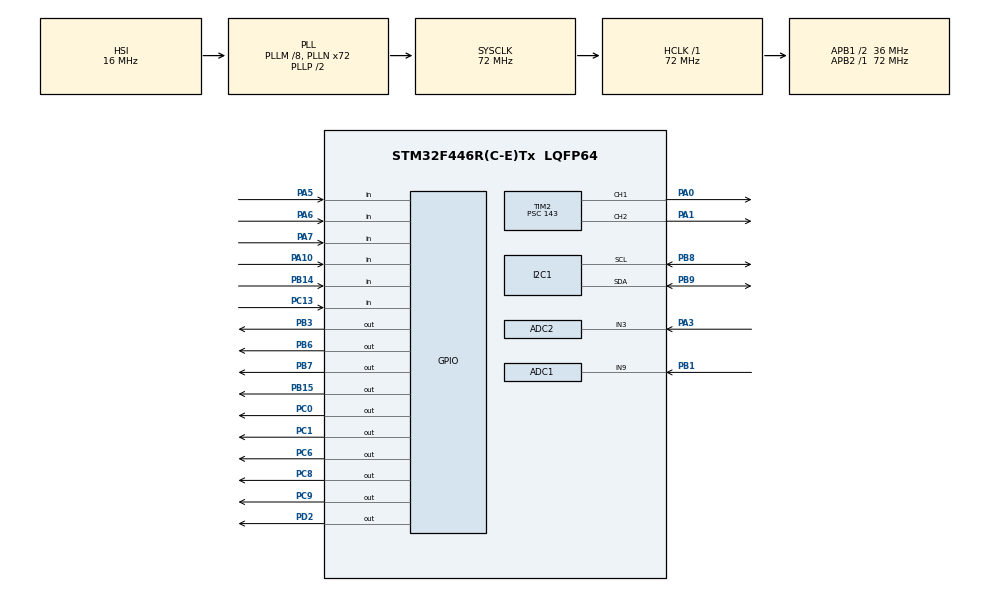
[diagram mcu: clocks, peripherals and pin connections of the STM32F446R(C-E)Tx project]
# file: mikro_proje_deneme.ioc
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ADC1.Channel-0\#ChannelRegularConversion=ADC_CHANNEL_9
ADC1.ContinuousConvMode=ENABLE
ADC1.NbrOfConversionFlag=1
ADC1.Rank-0\#ChannelRegularConversion=1
ADC1.SamplingTime-0\#ChannelRegularConversion=ADC_SAMPLETIME_3CYCLES
ADC1.master=1
ADC2.Channel-1\#ChannelRegularConversion=ADC_CHANNEL_3
ADC2.NbrOfConversionFlag=1
ADC2.Rank-1\#ChannelRegularConversion=1
ADC2.SamplingTime-1\#ChannelRegularConversion=ADC_SAMPLETIME_3CYCLES
Mcu.Family=STM32F4
Mcu.Name=STM32F446R(C-E)Tx
Mcu.Package=LQFP64
NVIC.ADC_IRQn=true\:0\:0\:false\:false\:true\:true\:true\:true
NVIC.PriorityGroup=NVIC_PRIORITYGROUP_4
PA0-WKUP.Signal=S_TIM2_CH1_ETR
PA1.Signal=S_TIM2_CH2
PA10.Signal=GPIO_Input
PA13.Mode=Serial_Wire
PA13.Signal=SYS_JTMS-SWDIO
PA14.Mode=Serial_Wire
PA14.Signal=SYS_JTCK-SWCLK
PA3.Signal=ADCx_IN3
PA5.GPIO_PuPd=GPIO_PULLDOWN
PA5.Signal=GPIO_Input
PA6.Signal=GPIO_Input
PA7.Signal=GPIO_Input
PB1.Signal=ADCx_IN9
PB14.Signal=GPIO_Input
PB15.Signal=GPIO_Output
PB3.Signal=GPIO_Output
PB6.Signal=GPIO_Output
PB7.Signal=GPIO_Output
PB8.Mode=I2C
PB8.Signal=I2C1_SCL
PB9.Mode=I2C
PB9.Signal=I2C1_SDA
PC0.Signal=GPIO_Output
PC1.Signal=GPIO_Output
PC13.Signal=GPIO_Input
PC6.Signal=GPIO_Output
PC8.Signal=GPIO_Output
PC9.Signal=GPIO_Output
PD2.Signal=GPIO_Output
PH0-OSC_IN.Mode=HSE-External-Oscillator
PH0-OSC_IN.Signal=RCC_OSC_IN
PH1-OSC_OUT.Mode=HSE-External-Oscillator
PH1-OSC_OUT.Signal=RCC_OSC_OUT
ProjectManager.HeapSize=0x200
ProjectManager.StackSize=0x400
ProjectManager.TargetToolchain=STM32CubeIDE
RCC.AHBFreq_Value=72000000
RCC.APB1CLKDivider=RCC_HCLK_DIV2
RCC.APB1Freq_Value=36000000
RCC.APB1TimFreq_Value=72000000
RCC.APB2Freq_Value=72000000
RCC.APB2TimFreq_Value=72000000
RCC.CortexFreq_Value=72000000
RCC.HCLKFreq_Value=72000000
RCC.PLLM=8
RCC.PLLN=72
RCC.SYSCLKFreq_VALUE=72000000
RCC.SYSCLKSource=RCC_SYSCLKSOURCE_PLLCLK
RCC.USBFreq_Value=72000000
RCC.VCOOutputFreq_Value=144000000
SH.ADCx_IN3.0=ADC2_IN3,IN3
SH.ADCx_IN9.0=ADC1_IN9,IN9
SH.S_TIM2_CH1_ETR.0=TIM2_CH1,PWM Generation1 CH1
SH.S_TIM2_CH2.0=TIM2_CH2,PWM Generation2 CH2
TIM1.Prescaler=71
TIM2.Channel-PWM\ Generation1\ CH1=TIM_CHANNEL_1
TIM2.Channel-PWM\ Generation2\ CH2=TIM_CHANNEL_2
TIM2.Period=9999
TIM2.Prescaler=143
VP_TIM1_VS_ClockSourceINT.Mode=Internal
board=custom

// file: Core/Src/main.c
/* USER CODE BEGIN Header */
/**
  ******************************************************************************
  * @file           : main.c
  * @brief          : Main program body
  ******************************************************************************
  * @attention
  *
  * Copyright (c) 2024 STMicroelectronics.
  * All rights reserved.
  *
  * This software is licensed under terms that can be found in the LICENSE file
  * in the root directory of this software component.
  * If no LICENSE file comes with this software, it is provided AS-IS.
  *
  ******************************************************************************
  */
/* USER CODE END Header */
#include "main.h"

/* USER CODE BEGIN Includes */

#include "liquidcrystal_i2c.h"
#include <stdio.h>
#include <string.h>

/* USER CODE END Includes */

/* USER CODE BEGIN PD */
#define DHT11_PORT GPIOB
#define DHT11_PIN GPIO_PIN_7

uint8_t RHI, RHD, TCI, TCD, SUM;
uint32_t pMillis, cMillis;
float tCelsius = 0;
float tFahrenheit = 0;
float RH = 0;
uint8_t TFI = 0;
uint8_t TFD = 0;
char strCopy[15];
uint16_t sayac;
uint16_t mesafe=0;

#define SERVO_ANGLE_0 500  // KAPI için 0 derece için uygun PWM pulse genisligi
#define SERVO_ANGLE_90 1000 // Kapi için 90 derece için uygun PWM pulse genisligi
#define SERVO_ANGLE_180 1299 // Kapi için 180 derece için uygun PWM pulse genisligi

uint16_t waterValue; //su sensörünü okumasi için
uint16_t lightValue;//isik sensörü okumasi için deger atadim
uint16_t gasValue; // gaz sensörü degeri

uint8_t waterFlag=0; //su sensörü flagi
uint8_t gasFlag=0; //gaz flagi
uint8_t ldrFlag=0; // isik flagi
uint8_t mesafeFlag=0; //pir flagi
uint8_t kilitliMi=0; //kapi için kilit.
/* USER CODE END PD */

ADC_HandleTypeDef hadc1;
ADC_HandleTypeDef hadc2;

I2C_HandleTypeDef hi2c1;

TIM_HandleTypeDef htim1;
TIM_HandleTypeDef htim2;

/* USER CODE BEGIN PV */
void HAL_ADC_ConvCpltCallback(ADC_HandleTypeDef* hadc2){ //Su sensörü için.
waterValue= HAL_ADC_GetValue(hadc2);
	if(waterValue>150){
		waterFlag=1;
	}else{
		waterFlag=0;
	}
}
/* USER CODE END PV */

void SystemClock_Config(void);
static void MX_GPIO_Init(void);
static void MX_TIM2_Init(void);
static void MX_ADC1_Init(void);
static void MX_ADC2_Init(void);
static void MX_I2C1_Init(void);
static void MX_TIM1_Init(void);

/* USER CODE BEGIN 0 */
void kilitFonksiyonu(){
		if(HAL_GPIO_ReadPin(GPIOA,GPIO_PIN_5)){ //kitle tusu
			kilitliMi=1;
			mesafeFlag=0;
		}
		else{ //5 sifir iken açilacak
			kilitliMi=0;
		}
}

void perdeAc(){
	TIM2->CCR2=SERVO_ANGLE_0;
} //manuel açma kapamalar için.

void perdeKapa(){
	 TIM2->CCR2=SERVO_ANGLE_180;
}
void Gas_System(){ //Pir sensörü gelince kapinin kendine ait kontrolu olacak.
    GPIO_PinState digital_value = HAL_GPIO_ReadPin(GPIOA, GPIO_PIN_10); // Dijital degeri oku
    // Dijital degeri kontrol et
    if (digital_value == 0) // Eger dijital pin HIGH durumdaysa
    {
				gasFlag=1;
				TIM2->CCR1=SERVO_ANGLE_90;
				  HD44780_Clear();
				  HD44780_SetCursor(0,0);
				  HD44780_PrintStr("GAZ KACAGI VAR");
				  HAL_Delay(1000);
				  TIM2->CCR2=SERVO_ANGLE_90;
           // Servo motoru 90 dereceye döndür
        // LED'i yak
        for (int i = 0; i < 40; i++)
        {

        	HAL_GPIO_WritePin(GPIOC, GPIO_PIN_1, 0);
            HAL_GPIO_TogglePin(GPIOC, GPIO_PIN_8|GPIO_PIN_9|GPIO_PIN_6); // ACIL DURUM LED 1'i yak , Buzzer'i aç. , ACIL DURUM LED 2'i yak
            HAL_Delay(500);
        }
    }
    else
    {

    	HAL_GPIO_WritePin(GPIOC, GPIO_PIN_1, 1);
				gasFlag=0;
        TIM2->CCR1=SERVO_ANGLE_0; // Servo motoru 0 dereceye döndür
        HAL_GPIO_WritePin(GPIOC, GPIO_PIN_8, GPIO_PIN_RESET);  // ACIL DURUM LED1'i söndür
		HAL_GPIO_WritePin(GPIOC, GPIO_PIN_9, GPIO_PIN_RESET); // ACIL DURUM LED2'i söndür
        HAL_GPIO_WritePin(GPIOC, GPIO_PIN_6, GPIO_PIN_RESET);// Buzzer'i kapat
    }
}

void isikKontrol(){
		HAL_ADC_Start(&hadc1);
		HAL_ADC_PollForConversion(&hadc1,100); //LDR okudugu veri bozulmasin diye eoc flag kontrolü yapiyoruz.
    lightValue = HAL_ADC_GetValue(&hadc1);

		if(lightValue<1500){ //ara deger bulanacak!
			ldrFlag=0;
		}
		else{
			ldrFlag=1;
		}
}

void perdeKontrol(){
	if(gasFlag==1){ //gaz varsa her türlü açicak.

		perdeAc();
	}
	else if (ldrFlag==1){ //gaz yoksa dis mekandan daha fazla isik varsa kapanacak
		  HD44780_Clear();
		  HD44780_SetCursor(0,0);
		  HD44780_PrintStr("HAVA GUNESLI");
		 HAL_Delay(100);
		perdeKapa();

	}
	else {
		  HD44780_Clear();
		  HD44780_SetCursor(0,0);
		  HD44780_PrintStr("HAVA KAPALI");
		  HAL_Delay(100);
		perdeAc(); //ne gaz varsa ne dis mekan daha isikli ise perde açilacak.

	}
}
/*void pir_kontrol()
	{
		if (HAL_GPIO_ReadPin(GPIOA, GPIO_PIN_7)){
			pirFlag=1;
		}

	}*/

void kapiKontrol(){
	 if(kilitliMi==0){
			TIM2->CCR1=SERVO_ANGLE_0; // kilit varsa kapı açilmaz.
			HAL_GPIO_WritePin(GPIOB,GPIO_PIN_3,0); //DIS ISIK AC.

	  }
	else if(kilitliMi==1 && mesafeFlag==1){
		HAL_GPIO_WritePin(GPIOB,GPIO_PIN_3,1);//DIS ISIK ac.
		TIM2->CCR1=SERVO_ANGLE_90;// Servo motoru 90 dereceye döndür, kapiyi aç
			HAL_Delay(2000);
		TIM2->CCR1=SERVO_ANGLE_0; //kapiyi kapayacak.
		  HD44780_Clear();
		  HD44780_SetCursor(0,0);
	    HD44780_PrintStr("HOSGELDIN SUHA");
		HAL_Delay(3000);

		// 5 sn bekle
		//TIM2->CCR1=SERVO_ANGLE_0; //kapiyi kapat.
		//pirFlag=0;
	}

	 /*  for(int x=0; x<20; x=x+1)
	   {
	     HD44780_ScrollDisplayLeft();  //HD44780_ScrollDisplayRight();
	     HAL_Delay(300);
	   }*/
}

void icIsiklandirma(){ // A6 IÇ ISIK TUSU, B6 IÇ ISIK ÇIKISI ROLESI
	if(HAL_GPIO_ReadPin(GPIOA,GPIO_PIN_6)){
		HAL_GPIO_WritePin(GPIOB,GPIO_PIN_6,1);//ROLE ÇALISIYOR
		HAL_Delay(10);
	}
	else {
		HAL_Delay(10);
		HAL_GPIO_WritePin(GPIOB,GPIO_PIN_6,0);
	}
}

void suKontrol(){
	HAL_ADC_Start(&hadc2); //Su sensörü ADC'sini baslat.
	HAL_ADC_PollForConversion(&hadc1,100);
	waterValue= HAL_ADC_GetValue(&hadc2);

		if(waterValue>150){
			waterFlag=1;
		}

		else{
			waterFlag=0;
		}
}

void suAlarmKontrol(){
if(waterFlag==1 && gasFlag==0){
				 for (int i = 0; i < 20; i++)
	                {
	                   HAL_GPIO_TogglePin(GPIOC, GPIO_PIN_8|GPIO_PIN_9|GPIO_PIN_6); // ACIL DURUM LED 1'i yak , Buzzer'i aç. , ACIL DURUM LED 2'i yak
	                    HAL_Delay(1000);
	                }
		}
		else{
			HAL_GPIO_WritePin(GPIOC,GPIO_PIN_8,GPIO_PIN_RESET);//BUZZER susacak.
			HAL_GPIO_WritePin(GPIOC,GPIO_PIN_9,GPIO_PIN_RESET);//Acil durum isigi 1 sönecek.
			HAL_GPIO_WritePin(GPIOC,GPIO_PIN_6,GPIO_PIN_RESET);//Acil durum isigi 2 sönecek.
			}
}

void microDelay (uint16_t delay){
  __HAL_TIM_SET_COUNTER(&htim1, 0);
  while (__HAL_TIM_GET_COUNTER(&htim1) < delay);
}

void ekran_calistirma (){
	char snum[16];
	char snum1[16];
	char snum4[16];
	char snum5[16];
      HD44780_Clear();
	  itoa(TCI, snum, 10);
	  itoa(TCD, snum1, 10);
	  itoa(RHI, snum4, 10);
	  itoa(RHD, snum5, 10);
while(HAL_GPIO_ReadPin(GPIOC, GPIO_PIN_13)==0){
	  HD44780_SetCursor(0,0);
	  HD44780_PrintStr(snum);
	  HD44780_SetCursor(2,0);
	  HD44780_PrintStr(".  C");
      HD44780_SetCursor(3,0);
	  HD44780_PrintStr(snum1);
	  HD44780_SetCursor(0,1);
	  HD44780_PrintStr(snum4);
	  HD44780_SetCursor(2,1);
	  HD44780_PrintStr(".  %");
      HD44780_SetCursor(3,1);
	  HD44780_PrintStr(snum5);
	  HAL_Delay(1000);
}
}
void mesafeKontrol(){
		HAL_GPIO_WritePin(GPIOB,GPIO_PIN_15,1);
		HAL_Delay(1);
		HAL_GPIO_WritePin(GPIOB,GPIO_PIN_15,0);

		while( !HAL_GPIO_ReadPin(GPIOB,GPIO_PIN_14));
		sayac=0;
		while(HAL_GPIO_ReadPin(GPIOB,GPIO_PIN_14)){
		sayac++;
		}
		mesafe=sayac/25;
		HAL_Delay(60);

		if(mesafe<50){
		mesafeFlag=1;
		}
		else{
			mesafeFlag=0;
		}
}

/*void ekran_calistirma_2 (){
	char snum[16];
	char snum1[16];
	char snum2[16];
	  HD44780_Clear();
	  itoa(lightValue, snum, 10);
	  itoa(gasValue, snum1, 10);

	while(HAL_GPIO_ReadPin(GPIOB, GPIO_PIN_12)==0){
		  //isikKontrol();
		  HD44780_SetCursor(0,0);
		  HD44780_PrintStr(snum);
		  HD44780_SetCursor(0,1);
		  HD44780_PrintStr(snum1);

	}
}*/

//NEM VE SİCAKLİK OLCUM KODLARİ
uint8_t DHT11_Start (void){
  uint8_t Response = 0;
  GPIO_InitTypeDef GPIO_InitStructPrivate = {0};
  GPIO_InitStructPrivate.Pin = DHT11_PIN;
  GPIO_InitStructPrivate.Mode = GPIO_MODE_OUTPUT_PP;
  GPIO_InitStructPrivate.Speed = GPIO_SPEED_FREQ_LOW;
  GPIO_InitStructPrivate.Pull = GPIO_NOPULL;
  HAL_GPIO_Init(DHT11_PORT, &GPIO_InitStructPrivate); // set the pin as output
  HAL_GPIO_WritePin (DHT11_PORT, DHT11_PIN, 0);   // pull the pin low
  HAL_Delay(20);   // wait for 20ms
  HAL_GPIO_WritePin (DHT11_PORT, DHT11_PIN, 1);   // pull the pin high
  microDelay (30);   // wait for 30us
  GPIO_InitStructPrivate.Mode = GPIO_MODE_INPUT;
  GPIO_InitStructPrivate.Pull = GPIO_PULLUP;
  HAL_GPIO_Init(DHT11_PORT, &GPIO_InitStructPrivate); // set the pin as input
  microDelay (40);
  if (!(HAL_GPIO_ReadPin (DHT11_PORT, DHT11_PIN)))
  {
    microDelay (80);
    if ((HAL_GPIO_ReadPin (DHT11_PORT, DHT11_PIN))) Response = 1;
  }
  pMillis = HAL_GetTick();
  cMillis = HAL_GetTick();
  while ((HAL_GPIO_ReadPin (DHT11_PORT, DHT11_PIN)) && pMillis + 2 > cMillis)
  {
    cMillis = HAL_GetTick();
  }
  return Response;
}

uint8_t DHT11_Read (void){
  uint8_t a,b;
  for (a=0;a<8;a++)
  {
    pMillis = HAL_GetTick();
    cMillis = HAL_GetTick();
    while (!(HAL_GPIO_ReadPin (DHT11_PORT, DHT11_PIN)) && pMillis + 2 > cMillis)
    {  // wait for the pin to go high
      cMillis = HAL_GetTick();
    }
    microDelay (40);   // wait for 40 us
    if (!(HAL_GPIO_ReadPin (DHT11_PORT, DHT11_PIN)))   // if the pin is low
      b&= ~(1<<(7-a));
    else
      b|= (1<<(7-a));
    pMillis = HAL_GetTick();
    cMillis = HAL_GetTick();
    while ((HAL_GPIO_ReadPin (DHT11_PORT, DHT11_PIN)) && pMillis + 2 > cMillis)
    {  // wait for the pin to go low
      cMillis = HAL_GetTick();
    }
  }
  return b;
}
/* USER CODE END 0 */

int main(void)
{

  /* MCU Configuration--------------------------------------------------------*/

  /* Reset of all peripherals, Initializes the Flash interface and the Systick. */
  HAL_Init();

  /* Configure the system clock */
  SystemClock_Config();

  /* Initialize all configured peripherals */
  MX_GPIO_Init();
  MX_TIM2_Init();
  MX_ADC1_Init();
  MX_ADC2_Init();
  MX_I2C1_Init();
  MX_TIM1_Init();
  /* USER CODE BEGIN 2 */
HD44780_Init(2);
HAL_TIM_PWM_Start(&htim2, TIM_CHANNEL_1); //  KAPI Timer'i için 1.kanali aktif ediyor.
HAL_TIM_PWM_Start(&htim2, TIM_CHANNEL_2); // PERDE için timer.
HAL_TIM_Base_Start(&htim1); //sicaklik sensörü timeri

  /* USER CODE END 2 */

  /* Infinite loop */
  /* USER CODE BEGIN WHILE */
  while (1)
  {

			Gas_System();
			isikKontrol();
			perdeKontrol();
			kilitFonksiyonu();
			mesafeKontrol();
			kapiKontrol();
			icIsiklandirma();
			  //suKontrol(); su çalismadigi için kapadim.
				// suAlarmKontrol();

			  if(DHT11_Start())
	    {
	      RHI = DHT11_Read(); // Relative humidity integral
	      RHD = DHT11_Read(); // Relative humidity decimal
	      TCI = DHT11_Read(); // Celsius integral
	      TCD = DHT11_Read(); // Celsius decimal
	      SUM = DHT11_Read(); // Check sum
	      if (RHI + RHD + TCI + TCD == SUM)
	      {
	        // Can use RHI and TCI for any purposes if whole number only needed
	        tCelsius = (float)TCI + (float)(TCD/10.0);
	        tFahrenheit = tCelsius * 9/5 + 32;
	        RH = (float)RHI + (float)(RHD/10.0);
	        // Can use tCelsius, tFahrenheit and RH for any purposes
	        TFI = tFahrenheit;  // Fahrenheit integral
	        TFD = tFahrenheit*10-TFI*10; // Fahrenheit decimal
				}
	        if (TCI <= 27) //  hava sogukken 5 saniye role ardından fan da calisir
	              {

	                HAL_GPIO_WritePin(GPIOC, GPIO_PIN_0, 0);     //  tasdirenc
	        		//HAL_Delay(5000);
	                HAL_GPIO_WritePin(GPIOC, GPIO_PIN_1, 1);    //pervane
	              }
	              else if (TCI >= 29 )
	              {

	                HAL_GPIO_WritePin(GPIOC, GPIO_PIN_0, 1);
	                HAL_GPIO_WritePin(GPIOC, GPIO_PIN_1, 0);
	              }
	              /*else
	              {

	                HAL_GPIO_WritePin(GPIOA, GPIO_PIN_9, 1);
	                HAL_GPIO_WritePin(GPIOA, GPIO_PIN_10, 1);
	              }*/
			}
		 if(HAL_GPIO_ReadPin(GPIOC, GPIO_PIN_13)==0){
			 ekran_calistirma();
                   }
		/* if(HAL_GPIO_ReadPin(GPIOB, GPIO_PIN_12)==0){
			 ekran_calistirma_2 ();
		 }*/

    /* USER CODE END WHILE */

  }
}

void SystemClock_Config(void)
{
  RCC_OscInitTypeDef RCC_OscInitStruct = {0};
  RCC_ClkInitTypeDef RCC_ClkInitStruct = {0};

  /** Configure the main internal regulator output voltage
  */
  __HAL_RCC_PWR_CLK_ENABLE();
  __HAL_PWR_VOLTAGESCALING_CONFIG(PWR_REGULATOR_VOLTAGE_SCALE3);

  /** Initializes the RCC Oscillators according to the specified parameters
  * in the RCC_OscInitTypeDef structure.
  */
  RCC_OscInitStruct.OscillatorType = RCC_OSCILLATORTYPE_HSI;
  RCC_OscInitStruct.HSIState = RCC_HSI_ON;
  RCC_OscInitStruct.HSICalibrationValue = RCC_HSICALIBRATION_DEFAULT;
  RCC_OscInitStruct.PLL.PLLState = RCC_PLL_ON;
  RCC_OscInitStruct.PLL.PLLSource = RCC_PLLSOURCE_HSI;
  RCC_OscInitStruct.PLL.PLLM = 8;
  RCC_OscInitStruct.PLL.PLLN = 72;
  RCC_OscInitStruct.PLL.PLLP = RCC_PLLP_DIV2;
  RCC_OscInitStruct.PLL.PLLQ = 2;
  RCC_OscInitStruct.PLL.PLLR = 2;
  if (HAL_RCC_OscConfig(&RCC_OscInitStruct) != HAL_OK)
  {
    Error_Handler();
  }

  /** Initializes the CPU, AHB and APB buses clocks
  */
  RCC_ClkInitStruct.ClockType = RCC_CLOCKTYPE_HCLK|RCC_CLOCKTYPE_SYSCLK
                              |RCC_CLOCKTYPE_PCLK1|RCC_CLOCKTYPE_PCLK2;
  RCC_ClkInitStruct.SYSCLKSource = RCC_SYSCLKSOURCE_PLLCLK;
  RCC_ClkInitStruct.AHBCLKDivider = RCC_SYSCLK_DIV1;
  RCC_ClkInitStruct.APB1CLKDivider = RCC_HCLK_DIV2;
  RCC_ClkInitStruct.APB2CLKDivider = RCC_HCLK_DIV1;

  if (HAL_RCC_ClockConfig(&RCC_ClkInitStruct, FLASH_LATENCY_2) != HAL_OK)
  {
    Error_Handler();
  }
}

static void MX_ADC1_Init(void)
{

  ADC_ChannelConfTypeDef sConfig = {0};

  /** Configure the global features of the ADC (Clock, Resolution, Data Alignment and number of conversion)
  */
  hadc1.Instance = ADC1;
  hadc1.Init.ClockPrescaler = ADC_CLOCK_SYNC_PCLK_DIV2;
  hadc1.Init.Resolution = ADC_RESOLUTION_12B;
  hadc1.Init.ScanConvMode = DISABLE;
  hadc1.Init.ContinuousConvMode = ENABLE;
  hadc1.Init.DiscontinuousConvMode = DISABLE;
  hadc1.Init.ExternalTrigConvEdge = ADC_EXTERNALTRIGCONVEDGE_NONE;
  hadc1.Init.ExternalTrigConv = ADC_SOFTWARE_START;
  hadc1.Init.DataAlign = ADC_DATAALIGN_RIGHT;
  hadc1.Init.NbrOfConversion = 1;
  hadc1.Init.DMAContinuousRequests = DISABLE;
  hadc1.Init.EOCSelection = ADC_EOC_SINGLE_CONV;
  if (HAL_ADC_Init(&hadc1) != HAL_OK)
  {
    Error_Handler();
  }

  /** Configure for the selected ADC regular channel its corresponding rank in the sequencer and its sample time.
  */
  sConfig.Channel = ADC_CHANNEL_9;
  sConfig.Rank = 1;
  sConfig.SamplingTime = ADC_SAMPLETIME_3CYCLES;
  if (HAL_ADC_ConfigChannel(&hadc1, &sConfig) != HAL_OK)
  {
    Error_Handler();
  }

}

static void MX_ADC2_Init(void)
{

  ADC_ChannelConfTypeDef sConfig = {0};

  /** Configure the global features of the ADC (Clock, Resolution, Data Alignment and number of conversion)
  */
  hadc2.Instance = ADC2;
  hadc2.Init.ClockPrescaler = ADC_CLOCK_SYNC_PCLK_DIV2;
  hadc2.Init.Resolution = ADC_RESOLUTION_12B;
  hadc2.Init.ScanConvMode = DISABLE;
  hadc2.Init.ContinuousConvMode = DISABLE;
  hadc2.Init.DiscontinuousConvMode = DISABLE;
  hadc2.Init.ExternalTrigConvEdge = ADC_EXTERNALTRIGCONVEDGE_NONE;
  hadc2.Init.ExternalTrigConv = ADC_SOFTWARE_START;
  hadc2.Init.DataAlign = ADC_DATAALIGN_RIGHT;
  hadc2.Init.NbrOfConversion = 1;
  hadc2.Init.DMAContinuousRequests = DISABLE;
  hadc2.Init.EOCSelection = ADC_EOC_SINGLE_CONV;
  if (HAL_ADC_Init(&hadc2) != HAL_OK)
  {
    Error_Handler();
  }

  /** Configure for the selected ADC regular channel its corresponding rank in the sequencer and its sample time.
  */
  sConfig.Channel = ADC_CHANNEL_3;
  sConfig.Rank = 1;
  sConfig.SamplingTime = ADC_SAMPLETIME_3CYCLES;
  if (HAL_ADC_ConfigChannel(&hadc2, &sConfig) != HAL_OK)
  {
    Error_Handler();
  }

}

static void MX_I2C1_Init(void)
{

  hi2c1.Instance = I2C1;
  hi2c1.Init.ClockSpeed = 100000;
  hi2c1.Init.DutyCycle = I2C_DUTYCYCLE_2;
  hi2c1.Init.OwnAddress1 = 0;
  hi2c1.Init.AddressingMode = I2C_ADDRESSINGMODE_7BIT;
  hi2c1.Init.DualAddressMode = I2C_DUALADDRESS_DISABLE;
  hi2c1.Init.OwnAddress2 = 0;
  hi2c1.Init.GeneralCallMode = I2C_GENERALCALL_DISABLE;
  hi2c1.Init.NoStretchMode = I2C_NOSTRETCH_DISABLE;
  if (HAL_I2C_Init(&hi2c1) != HAL_OK)
  {
    Error_Handler();
  }

}

static void MX_TIM1_Init(void)
{

  TIM_ClockConfigTypeDef sClockSourceConfig = {0};
  TIM_MasterConfigTypeDef sMasterConfig = {0};

  htim1.Instance = TIM1;
  htim1.Init.Prescaler = 71;
  htim1.Init.CounterMode = TIM_COUNTERMODE_UP;
  htim1.Init.Period = 65535;
  htim1.Init.ClockDivision = TIM_CLOCKDIVISION_DIV1;
  htim1.Init.RepetitionCounter = 0;
  htim1.Init.AutoReloadPreload = TIM_AUTORELOAD_PRELOAD_DISABLE;
  if (HAL_TIM_Base_Init(&htim1) != HAL_OK)
  {
    Error_Handler();
  }
  sClockSourceConfig.ClockSource = TIM_CLOCKSOURCE_INTERNAL;
  if (HAL_TIM_ConfigClockSource(&htim1, &sClockSourceConfig) != HAL_OK)
  {
    Error_Handler();
  }
  sMasterConfig.MasterOutputTrigger = TIM_TRGO_RESET;
  sMasterConfig.MasterSlaveMode = TIM_MASTERSLAVEMODE_DISABLE;
  if (HAL_TIMEx_MasterConfigSynchronization(&htim1, &sMasterConfig) != HAL_OK)
  {
    Error_Handler();
  }

}

static void MX_TIM2_Init(void)
{

  TIM_MasterConfigTypeDef sMasterConfig = {0};
  TIM_OC_InitTypeDef sConfigOC = {0};

  htim2.Instance = TIM2;
  htim2.Init.Prescaler = 143;
  htim2.Init.CounterMode = TIM_COUNTERMODE_UP;
  htim2.Init.Period = 9999;
  htim2.Init.ClockDivision = TIM_CLOCKDIVISION_DIV1;
  htim2.Init.AutoReloadPreload = TIM_AUTORELOAD_PRELOAD_DISABLE;
  if (HAL_TIM_PWM_Init(&htim2) != HAL_OK)
  {
    Error_Handler();
  }
  sMasterConfig.MasterOutputTrigger = TIM_TRGO_RESET;
  sMasterConfig.MasterSlaveMode = TIM_MASTERSLAVEMODE_DISABLE;
  if (HAL_TIMEx_MasterConfigSynchronization(&htim2, &sMasterConfig) != HAL_OK)
  {
    Error_Handler();
  }
  sConfigOC.OCMode = TIM_OCMODE_PWM1;
  sConfigOC.Pulse = 0;
  sConfigOC.OCPolarity = TIM_OCPOLARITY_HIGH;
  sConfigOC.OCFastMode = TIM_OCFAST_DISABLE;
  if (HAL_TIM_PWM_ConfigChannel(&htim2, &sConfigOC, TIM_CHANNEL_1) != HAL_OK)
  {
    Error_Handler();
  }
  if (HAL_TIM_PWM_ConfigChannel(&htim2, &sConfigOC, TIM_CHANNEL_2) != HAL_OK)
  {
    Error_Handler();
  }
  HAL_TIM_MspPostInit(&htim2);

}

static void MX_GPIO_Init(void)
{
  GPIO_InitTypeDef GPIO_InitStruct = {0};

  /* GPIO Ports Clock Enable */
  __HAL_RCC_GPIOC_CLK_ENABLE();
  __HAL_RCC_GPIOH_CLK_ENABLE();
  __HAL_RCC_GPIOA_CLK_ENABLE();
  __HAL_RCC_GPIOB_CLK_ENABLE();
  __HAL_RCC_GPIOD_CLK_ENABLE();

  /*Configure GPIO pin Output Level */
  HAL_GPIO_WritePin(GPIOC, GPIO_PIN_0|GPIO_PIN_1|GPIO_PIN_6|GPIO_PIN_8
                          |GPIO_PIN_9, GPIO_PIN_RESET);

  /*Configure GPIO pin Output Level */
  HAL_GPIO_WritePin(GPIOB, GPIO_PIN_15|GPIO_PIN_3|GPIO_PIN_6|GPIO_PIN_7, GPIO_PIN_RESET);

  /*Configure GPIO pin Output Level */
  HAL_GPIO_WritePin(GPIOD, GPIO_PIN_2, GPIO_PIN_RESET);

  /*Configure GPIO pin : PC13 */
  GPIO_InitStruct.Pin = GPIO_PIN_13;
  GPIO_InitStruct.Mode = GPIO_MODE_INPUT;
  GPIO_InitStruct.Pull = GPIO_NOPULL;
  HAL_GPIO_Init(GPIOC, &GPIO_InitStruct);

  /*Configure GPIO pins : PC0 PC1 PC6 PC8
                           PC9 */
  GPIO_InitStruct.Pin = GPIO_PIN_0|GPIO_PIN_1|GPIO_PIN_6|GPIO_PIN_8
                          |GPIO_PIN_9;
  GPIO_InitStruct.Mode = GPIO_MODE_OUTPUT_PP;
  GPIO_InitStruct.Pull = GPIO_NOPULL;
  GPIO_InitStruct.Speed = GPIO_SPEED_FREQ_LOW;
  HAL_GPIO_Init(GPIOC, &GPIO_InitStruct);

  /*Configure GPIO pin : PA5 */
  GPIO_InitStruct.Pin = GPIO_PIN_5;
  GPIO_InitStruct.Mode = GPIO_MODE_INPUT;
  GPIO_InitStruct.Pull = GPIO_PULLDOWN;
  HAL_GPIO_Init(GPIOA, &GPIO_InitStruct);

  /*Configure GPIO pins : PA6 PA7 PA10 */
  GPIO_InitStruct.Pin = GPIO_PIN_6|GPIO_PIN_7|GPIO_PIN_10;
  GPIO_InitStruct.Mode = GPIO_MODE_INPUT;
  GPIO_InitStruct.Pull = GPIO_NOPULL;
  HAL_GPIO_Init(GPIOA, &GPIO_InitStruct);

  /*Configure GPIO pin : PB14 */
  GPIO_InitStruct.Pin = GPIO_PIN_14;
  GPIO_InitStruct.Mode = GPIO_MODE_INPUT;
  GPIO_InitStruct.Pull = GPIO_NOPULL;
  HAL_GPIO_Init(GPIOB, &GPIO_InitStruct);

  /*Configure GPIO pins : PB15 PB3 PB6 PB7 */
  GPIO_InitStruct.Pin = GPIO_PIN_15|GPIO_PIN_3|GPIO_PIN_6|GPIO_PIN_7;
  GPIO_InitStruct.Mode = GPIO_MODE_OUTPUT_PP;
  GPIO_InitStruct.Pull = GPIO_NOPULL;
  GPIO_InitStruct.Speed = GPIO_SPEED_FREQ_LOW;
  HAL_GPIO_Init(GPIOB, &GPIO_InitStruct);

  /*Configure GPIO pin : PD2 */
  GPIO_InitStruct.Pin = GPIO_PIN_2;
  GPIO_InitStruct.Mode = GPIO_MODE_OUTPUT_PP;
  GPIO_InitStruct.Pull = GPIO_NOPULL;
  GPIO_InitStruct.Speed = GPIO_SPEED_FREQ_LOW;
  HAL_GPIO_Init(GPIOD, &GPIO_InitStruct);

}

void Error_Handler(void)
{
  __disable_irq();
  while (1)
  {
  }
}
